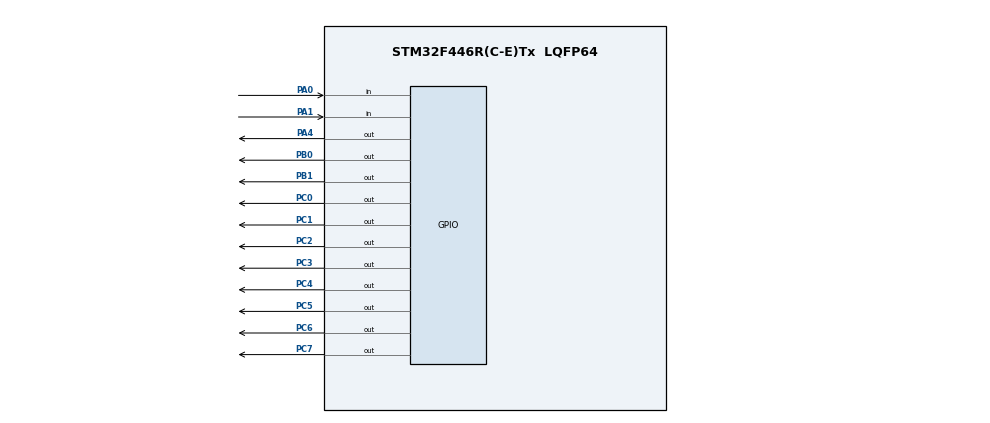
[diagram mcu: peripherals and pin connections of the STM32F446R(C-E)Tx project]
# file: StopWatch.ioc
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Mcu.Family=STM32F4
Mcu.Name=STM32F446R(C-E)Tx
Mcu.Package=LQFP64
NVIC.PriorityGroup=NVIC_PRIORITYGROUP_4
PA0-WKUP.GPIO_PuPd=GPIO_PULLUP
PA0-WKUP.Signal=GPIO_Input
PA1.GPIO_PuPd=GPIO_PULLUP
PA1.Signal=GPIO_Input
PA13.Mode=Serial_Wire
PA13.Signal=SYS_JTMS-SWDIO
PA14.Mode=Serial_Wire
PA14.Signal=SYS_JTCK-SWCLK
PA4.Signal=GPIO_Output
PB0.Signal=GPIO_Output
PB1.Signal=GPIO_Output
PC0.Signal=GPIO_Output
PC1.Signal=GPIO_Output
PC2.Signal=GPIO_Output
PC3.Signal=GPIO_Output
PC4.Signal=GPIO_Output
PC5.Signal=GPIO_Output
PC6.Signal=GPIO_Output
PC7.Signal=GPIO_Output
ProjectManager.HeapSize=0x200
ProjectManager.StackSize=0x400
ProjectManager.TargetToolchain=STM32CubeIDE
RCC.CortexFreq_Value=16000000
RCC.USBFreq_Value=96000000
RCC.VCOOutputFreq_Value=192000000
board=custom

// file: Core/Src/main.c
/* USER CODE BEGIN Header */
/**
  ******************************************************************************
  * @file           : main.c
  * @brief          : Main program body
  ******************************************************************************
  * @attention
  *
  * Copyright (c) 2026 STMicroelectronics.
  * All rights reserved.
  *
  * This software is licensed under terms that can be found in the LICENSE file
  * in the root directory of this software component.
  * If no LICENSE file comes with this software, it is provided AS-IS.
  *
  ******************************************************************************
  */
/* USER CODE END Header */
#include "main.h"

/* USER CODE BEGIN PV */
// Mảng mã HEX hiển thị từ 0-9 cho LED 7 đoạn Cathode chung (Common Cathode)
const uint8_t numSegments[] = {
  0x3F, // Số 0 (Thanh a,b,c,d,e,f sáng)
  0x06, // Số 1
  0x5B, // Số 2
  0x4F, // Số 3
  0x66, // Số 4
  0x6D, // Số 5
  0x7D, // Số 6
  0x07, // Số 7
  0x7F, // Số 8
  0x6F  // Số 9
};
const uint16_t LED_PINS[8] = {
  GPIO_PIN_0, // Thanh A
  GPIO_PIN_1, // Thanh B
  GPIO_PIN_2, // Thanh C
  GPIO_PIN_3, // Thanh D
  GPIO_PIN_4, // Thanh E
  GPIO_PIN_5, // Thanh F
  GPIO_PIN_6, // Thanh G
  GPIO_PIN_7  // Thanh DP
};
int count = 0;          // Biến đếm thời gian từ 0 -> 99
uint8_t isRunning = 0;  // Trạng thái đếm (0: dừng, 1: đang đếm)

uint32_t previousMillis = 0;
const uint32_t interval = 1000; // Khoảng thời gian tăng 1 đơn vị (1000ms = 1 giây)

// Biến lưu trạng thái nút nhấn trước đó để bắt sườn xuống (nút nhấn xuống GND)
uint8_t lastBtnStateSP = 1;
uint8_t lastBtnStateRst = 1;
/* USER CODE END PV */

void SystemClock_Config(void);
static void MX_GPIO_Init(void);
/* USER CODE BEGIN PFP */
void displayDigit(int num);
void displayNumber(int num);
/* USER CODE END PFP */

int main(void)
{

  /* MCU Configuration--------------------------------------------------------*/

  /* Reset of all peripherals, Initializes the Flash interface and the Systick. */
  HAL_Init();

  /* Configure the system clock */
  SystemClock_Config();

  /* Initialize all configured peripherals */
  MX_GPIO_Init();

  /* Infinite loop */
  while (1)
  {
	  // 1. XỬ LÝ NÚT NHẤN START / PAUSE / RESUME (Chân PA0)
	      uint8_t currentBtnStateSP = HAL_GPIO_ReadPin(GPIOA, GPIO_PIN_0);
	      if (currentBtnStateSP == GPIO_PIN_RESET && lastBtnStateSP == GPIO_PIN_SET) {
	        HAL_Delay(20); // Chống nhiễu phím bấm (Debounce)
	        if (HAL_GPIO_ReadPin(GPIOA, GPIO_PIN_0) == GPIO_PIN_RESET) {
	          if (count < 99) { // Nếu đã đến 99 thì nút này không có tác dụng nữa, phải Reset
	            isRunning = !isRunning; // Đảo trạng thái Chạy <-> Dừng
	          }
	        }
	      }
	      lastBtnStateSP = currentBtnStateSP;

	      // 2. XỬ LÝ NÚT NHẤN RESET (Chân PA1)
	      uint8_t currentBtnStateRst = HAL_GPIO_ReadPin(GPIOA, GPIO_PIN_1);
	      if (currentBtnStateRst == GPIO_PIN_RESET && lastBtnStateRst == GPIO_PIN_SET) {
	        HAL_Delay(20); // Chống nhiễu phím bấm
	        if (HAL_GPIO_ReadPin(GPIOA, GPIO_PIN_1) == GPIO_PIN_RESET) {
	          count = 0;       // Đưa biến đếm về 0
	          isRunning = 0;   // Dừng đếm
	          HAL_GPIO_WritePin(GPIOA, GPIO_PIN_4, GPIO_PIN_RESET); // Tắt còi Buzzer
	        }
	      }
	      lastBtnStateRst = currentBtnStateRst;

	      // 3. LOGIC ĐẾM THỜI GIAN (Sử dụng hàm HAL_GetTick() để không làm đứng mạch)
	      uint32_t currentMillis = HAL_GetTick();
	      if (isRunning && (currentMillis - previousMillis >= interval)) {
	        previousMillis = currentMillis;
	        count++;

	        // Kiểm tra khi chạm mốc 99
	        if (count >= 99) {
	          count = 99;
	          isRunning = 0; // Ngừng đếm
	          HAL_GPIO_WritePin(GPIOA, GPIO_PIN_4, GPIO_PIN_SET); // Bật còi Buzzer liên tục
	        }
	      }

	      // 4. QUÉT LED LIÊN TỤC ĐỂ HIỂN THỊ SỐ
	      displayNumber(count);

  }
}

void SystemClock_Config(void)
{
  RCC_OscInitTypeDef RCC_OscInitStruct = {0};
  RCC_ClkInitTypeDef RCC_ClkInitStruct = {0};

  /** Configure the main internal regulator output voltage
  */
  __HAL_RCC_PWR_CLK_ENABLE();
  __HAL_PWR_VOLTAGESCALING_CONFIG(PWR_REGULATOR_VOLTAGE_SCALE3);

  /** Initializes the RCC Oscillators according to the specified parameters
  * in the RCC_OscInitTypeDef structure.
  */
  RCC_OscInitStruct.OscillatorType = RCC_OSCILLATORTYPE_HSI;
  RCC_OscInitStruct.HSIState = RCC_HSI_ON;
  RCC_OscInitStruct.HSICalibrationValue = RCC_HSICALIBRATION_DEFAULT;
  RCC_OscInitStruct.PLL.PLLState = RCC_PLL_NONE;
  if (HAL_RCC_OscConfig(&RCC_OscInitStruct) != HAL_OK)
  {
    Error_Handler();
  }

  /** Initializes the CPU, AHB and APB buses clocks
  */
  RCC_ClkInitStruct.ClockType = RCC_CLOCKTYPE_HCLK|RCC_CLOCKTYPE_SYSCLK
                              |RCC_CLOCKTYPE_PCLK1|RCC_CLOCKTYPE_PCLK2;
  RCC_ClkInitStruct.SYSCLKSource = RCC_SYSCLKSOURCE_HSI;
  RCC_ClkInitStruct.AHBCLKDivider = RCC_SYSCLK_DIV1;
  RCC_ClkInitStruct.APB1CLKDivider = RCC_HCLK_DIV1;
  RCC_ClkInitStruct.APB2CLKDivider = RCC_HCLK_DIV1;

  if (HAL_RCC_ClockConfig(&RCC_ClkInitStruct, FLASH_LATENCY_0) != HAL_OK)
  {
    Error_Handler();
  }
}

static void MX_GPIO_Init(void)
{
  GPIO_InitTypeDef GPIO_InitStruct = {0};

  /* GPIO Ports Clock Enable */
  __HAL_RCC_GPIOC_CLK_ENABLE();
  __HAL_RCC_GPIOA_CLK_ENABLE();
  __HAL_RCC_GPIOB_CLK_ENABLE();

  /*Configure GPIO pin Output Level */
  HAL_GPIO_WritePin(GPIOC, GPIO_PIN_0|GPIO_PIN_1|GPIO_PIN_2|GPIO_PIN_3
                          |GPIO_PIN_4|GPIO_PIN_5|GPIO_PIN_6|GPIO_PIN_7, GPIO_PIN_RESET);

  /*Configure GPIO pin Output Level */
  HAL_GPIO_WritePin(GPIOA, GPIO_PIN_4, GPIO_PIN_RESET);

  /*Configure GPIO pin Output Level */
  HAL_GPIO_WritePin(GPIOB, GPIO_PIN_0|GPIO_PIN_1, GPIO_PIN_RESET);

  /*Configure GPIO pins : PC0 PC1 PC2 PC3
                           PC4 PC5 PC6 PC7 */
  GPIO_InitStruct.Pin = GPIO_PIN_0|GPIO_PIN_1|GPIO_PIN_2|GPIO_PIN_3
                          |GPIO_PIN_4|GPIO_PIN_5|GPIO_PIN_6|GPIO_PIN_7;
  GPIO_InitStruct.Mode = GPIO_MODE_OUTPUT_PP;
  GPIO_InitStruct.Pull = GPIO_NOPULL;
  GPIO_InitStruct.Speed = GPIO_SPEED_FREQ_LOW;
  HAL_GPIO_Init(GPIOC, &GPIO_InitStruct);

  /*Configure GPIO pins : PA0 PA1 */
  GPIO_InitStruct.Pin = GPIO_PIN_0|GPIO_PIN_1;
  GPIO_InitStruct.Mode = GPIO_MODE_INPUT;
  GPIO_InitStruct.Pull = GPIO_PULLUP;
  HAL_GPIO_Init(GPIOA, &GPIO_InitStruct);

  /*Configure GPIO pin : PA4 */
  GPIO_InitStruct.Pin = GPIO_PIN_4;
  GPIO_InitStruct.Mode = GPIO_MODE_OUTPUT_PP;
  GPIO_InitStruct.Pull = GPIO_NOPULL;
  GPIO_InitStruct.Speed = GPIO_SPEED_FREQ_LOW;
  HAL_GPIO_Init(GPIOA, &GPIO_InitStruct);

  /*Configure GPIO pins : PB0 PB1 */
  GPIO_InitStruct.Pin = GPIO_PIN_0|GPIO_PIN_1;
  GPIO_InitStruct.Mode = GPIO_MODE_OUTPUT_PP;
  GPIO_InitStruct.Pull = GPIO_NOPULL;
  GPIO_InitStruct.Speed = GPIO_SPEED_FREQ_LOW;
  HAL_GPIO_Init(GPIOB, &GPIO_InitStruct);

}

/* USER CODE BEGIN 4 */
// Hàm xuất mã 8-bit của chữ số ra các chân từ PC0 đến PC7
void displayDigit(int num) {
  uint8_t segments = numSegments[num];

    for (int i = 0; i < 8; i++) {

      int bitStatus = (segments >> i) & 0x01;

      // Ghi trạng thái ra chân tương ứng trong mảng
      HAL_GPIO_WritePin(GPIOC, LED_PINS[i], bitStatus ? GPIO_PIN_SET : GPIO_PIN_RESET);
    }
}

// Hàm thực hiện quét LED
void displayNumber(int num) {
  int tens = num / 10;   // Lấy chữ số hàng chục
  int units = num % 10;  // Lấy chữ số hàng đơn vị

  // --- BƯỚC 1: HIỂN THỊ HÀNG CHỤC ---
    // Tắt LED đơn vị trước để chống bóng mờ
    HAL_GPIO_WritePin(GPIOB, GPIO_PIN_1, GPIO_PIN_SET);

    // Xuất dữ liệu hàng chục và BẬT LED hàng chục
    displayDigit(tens);
    HAL_GPIO_WritePin(GPIOB, GPIO_PIN_0, GPIO_PIN_RESET);
    HAL_Delay(9);

    // --- BƯỚC 2: HIỂN THỊ HÀNG ĐƠN VỊ ---
    // Tắt LED hàng chục trước
    HAL_GPIO_WritePin(GPIOB, GPIO_PIN_0, GPIO_PIN_SET);

    // Xuất dữ liệu hàng đơn vị và BẬT LED hàng đơn vị
    displayDigit(units);
    HAL_GPIO_WritePin(GPIOB, GPIO_PIN_1, GPIO_PIN_RESET);
    HAL_Delay(9);
  }
/* USER CODE END 4 */

void Error_Handler(void)
{
  __disable_irq();
  while (1)
  {
  }
}
